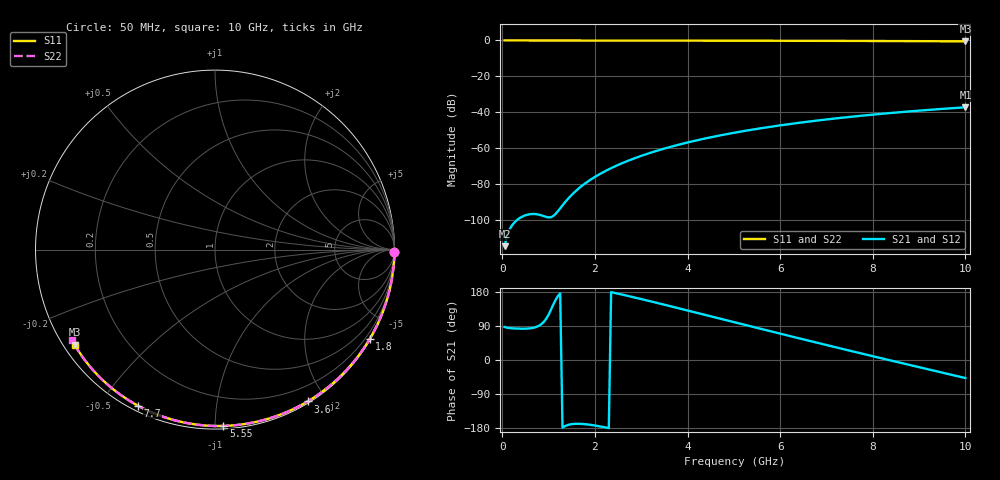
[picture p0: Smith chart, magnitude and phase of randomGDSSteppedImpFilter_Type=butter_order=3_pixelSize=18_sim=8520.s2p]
! freq	dB(S11)	phase(S11)	dB(S12)	phase(S12)
!  dB(S21)	phase(S21)	dB(S22)	phase(S22)
!S-par simulation data
#  GHz  S  DB  R 50
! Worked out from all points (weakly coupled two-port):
!   200 points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, 50 MHz to 10 GHz, reference 50 ohm
!   highest |S21| = -37.30 dB at 10 GHz (marker M1); lowest = -114.8 dB at 50 MHz (marker M2)
!   lowest |S11| = -0.5 dB at 10 GHz (marker M3), VSWR 35.23, Z = 1.55 - j15.3 ohm
!   |S11| at or under -10 dB: nowhere
!   |S22| runs from -0.5 to 0.0 dB; largest |S21 - S12| = 0
!   S11 on the Smith chart (normalised r, x): 50 MHz: open; 1.8 GHz: 0.03, -3.72; 3.6 GHz: 0.02, -1.78; 5.55 GHz: 0.02, -1.05; 7.7 GHz: 0.02, -0.62; 10 GHz: 0.03, -0.31
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0.05  -0.00 -0.9  -114.82 87.1  -114.82 87.1  -0.00 -0.9
0.45  -0.01 -7.6  -98.08 82.6  -98.08 82.6  -0.01 -7.7
0.9  -0.02 -15.2  -98.09 101.1  -98.09 101.1  -0.02 -15.2
1.3  -0.03 -21.8  -92.02 -178.6  -92.02 -178.6  -0.03 -21.9
1.75  -0.04 -29.2  -80.54 -169.0  -80.54 -169.0  -0.04 -29.4
1.8  -0.04 -30.1  -79.58 -169.6  -79.58 -169.6  -0.04 -30.2
1.95  -0.04 -32.5  -76.96 -171.9  -76.96 -171.9  -0.04 -32.7
2.1  -0.04 -34.9  -74.64 -175.0  -74.64 -175.0  -0.04 -35.1
2.3  -0.05 -38.2  -71.90 -179.8  -71.90 -179.8  -0.05 -38.3
2.5  -0.05 -41.4  -69.48 175.0  -69.48 175.0  -0.05 -41.6
2.9  -0.06 -47.7  -65.33 163.7  -65.33 163.7  -0.06 -48.0
3.4  -0.07 -55.5  -61.09 148.9  -61.09 148.9  -0.07 -55.8
3.6  -0.08 -58.6  -59.61 142.9  -59.61 142.9  -0.08 -58.9
4.3  -0.10 -69.2  -55.16 121.5  -55.16 121.5  -0.10 -69.6
5.05  -0.12 -80.1  -51.31 98.5  -51.31 98.5  -0.12 -80.6
5.55  -0.14 -87.3  -49.14 83.2  -49.14 83.2  -0.14 -87.8
6.1  -0.17 -94.9  -47.03 66.5  -47.03 66.5  -0.17 -95.6
6.7  -0.20 -103.1  -45.01 48.4  -45.01 48.4  -0.20 -103.8
7.7  -0.27 -116.3  -42.15 18.8  -42.15 18.8  -0.27 -117.3
8.35  -0.32 -124.8  -40.56 -0.2  -40.56 -0.2  -0.32 -125.9
9.2  -0.40 -135.7  -38.76 -24.8  -38.76 -24.8  -0.41 -137.1
10  -0.49 -145.9  -37.30 -47.6  -37.30 -47.6  -0.50 -147.7
